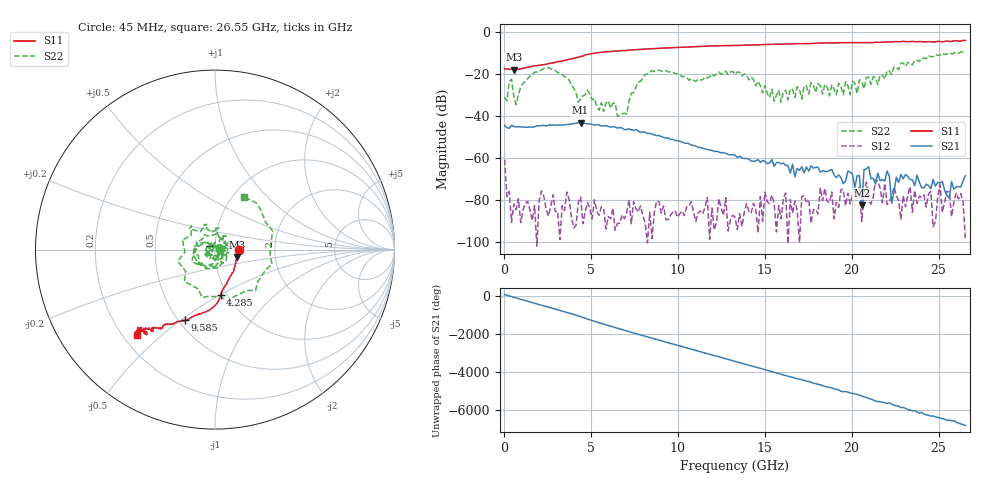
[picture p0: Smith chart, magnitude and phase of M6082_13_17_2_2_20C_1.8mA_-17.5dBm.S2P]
!  2-Port S-parameters saved by WinCal
! VAR MeasName=S-Parameters (CALIBRATED_DATA) read from VNA (C)
! VAR MeasDate=10/16/2015 1:40:11 PM
! VAR NAME=M6082_13_17_2_2_20C_1.8mA_-17.5dBm
! VAR FILENAME=M6082_13_17_2_2_20C_1.8mA_-17.5dBm.S2P
! VAR DATE=10/16/2015 1:40:11 PM
! VAR PHYS_PORTS=2,1
! VAR ObjTypeName=DATASET
! VAR IndexType=Frequency
# Hz S DB R 50
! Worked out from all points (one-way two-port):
!   201 points, 45 MHz to 26.55 GHz, reference 50 ohm
!   highest |S21| = -43.13 dB at 4.418 GHz (marker M1); lowest = -82.6 dB at 20.58 GHz (marker M2)
!   lowest |S11| = -17.7 dB at 575 MHz (marker M3), VSWR 1.30, Z = 63.6 - j5.69 ohm
!   |S11| at or under -10 dB: start of sweep to 5.107 GHz
!   |S22| runs from -40.1 to -9.2 dB; largest |S21 - S12| = 0.007
!   S11 on the Smith chart (normalised r, x): 45 MHz: 1.31, -0.01; 4.285 GHz: 0.93, -0.51; 9.585 GHz: 0.54, -0.52; 26.55 GHz: 0.26, -0.42
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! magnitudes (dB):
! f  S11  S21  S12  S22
! 45 MHz  -17.3  -44.4  -60.8  -30.9
! 177.5 MHz  -17.5  -45.5  -78.4  -32.7
! 442.5 MHz  -17.6  -44.4  -90.9  -22.4
! 575 MHz  -17.7  -44.9  -82.0  -30.6
! 2.562 GHz  -14.9  -44.3  -87.7  -16.8
! 4.285 GHz  -11.8  -43.2  -81.1  -33.4
! 4.418 GHz  -11.5  -43.1  -78.7  -31.7
! 4.55 GHz  -11.2  -43.2  -91.5  -30.3
! 7.067 GHz  -8.6  -46.4  -86.2  -39.0
! 8.922 GHz  -7.6  -49.2  -81.0  -18.0
! 9.585 GHz  -7.4  -51.1  -87.4  -18.8
! 13.29 GHz  -6.2  -58.6  -88.3  -20.0
! 15.95 GHz  -5.5  -62.8  -89.1  -33.4
! 17.8 GHz  -5.3  -64.9  -84.8  -25.1
! 20.45 GHz  -4.8  -68.5  -74.0  -22.6
! 20.58 GHz  -4.8  -82.6  -90.4  -23.2
! 20.71 GHz  -4.9  -65.6  -76.4  -26.9
! 22.17 GHz  -4.5  -68.7  -80.8  -18.4
! 22.3 GHz  -4.5  -81.6  -78.6  -20.2
! 22.84 GHz  -4.4  -67.9  -89.4  -14.7
! 25.62 GHz  -4.3  -79.3  -76.2  -9.7
! 26.55 GHz  -3.8  -68.5  -99.0  -9.5
